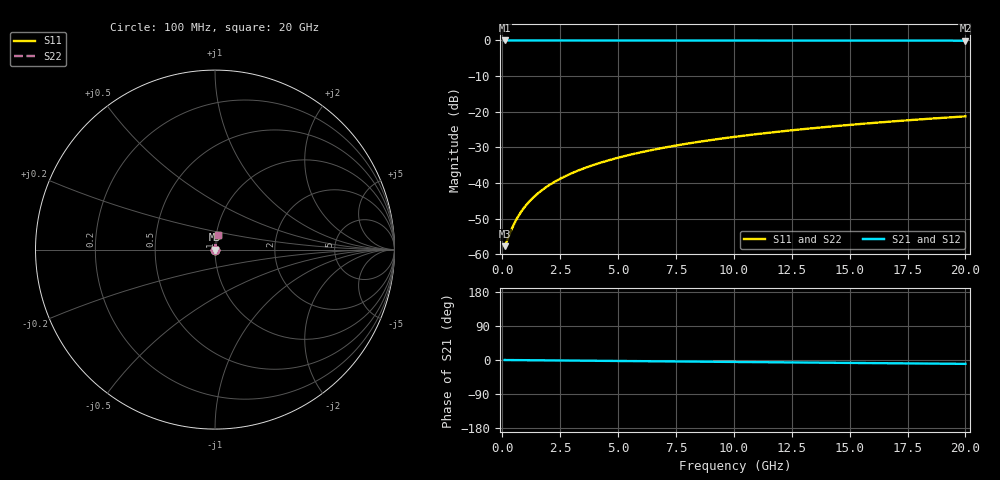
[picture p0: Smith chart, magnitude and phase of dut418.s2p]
! Touchstone file exported from HFSS 2026.1.0
!  File:  C:/ffzhzh/LocalFiles/Ansys_Project_Files/temp_train_TSV_418_1783020802_53980.aedt
!  Generated:  03:35:46 AM Jul  3, 2026
!  Design:  TSV
!  Project:  temp_train_TSV_418_1783020802_53980
! Variables:
!  h_bsmrdl = 2um
!  h_ox = 20um
!  h_rdl = 5um
!  h_sub = 93.42um
!  h_tmrdl = 5um
!  h_tsv = 93.42um
!  h_via = 3um
!  l_bsmrdl = 300um
!  l_sub = 405.98um
!  l_tmrdl = 200um
!  m_sub = 200um
!  pitch = 28.7um
!  r_tsv = 2.99um
!  s_tmrdl = 10um
!  w_bsmrdl = 18um
!  w_sub = 500um
!  w_tmrdl = 12um
!  x_tsv_center1 = 206um
!  x_tsv_center2 = 524um
!  x_tsv_center3 = 736um
!  x_tsv_center4 = 1054um
!  x_tsv_center5 = 1266um
!  x_tsv_center6 = 1584um
# GHz S MA R 50.000000
! Terminal data exported
! Port[1] = TSV1_1_T1
! Port[2] = TSV1_1_T2
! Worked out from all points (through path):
!   200 points, 100 MHz to 20 GHz, reference 50 ohm
!   highest |S21| = -0.01 dB at 100 MHz (marker M1); lowest = -0.1 dB at 20 GHz (marker M2)
!   group delay of S21, straight-line fit = 1.41 ps
!   lowest |S11| = -57.7 dB at 100 MHz (marker M3), VSWR 1.00, Z = 50.1 + j0.047 ohm
!   |S11| at or under -10 dB: start of sweep to end of sweep
!   |S22| runs from -57.7 to -21.3 dB; largest |S21 - S12| = 2.2e-15
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0.1  0.0013 21.1  0.9988 -0.1  0.9988 -0.1  0.0013 21.1
! Gamma 0 0 0 0
! Port Impedance 50 0 50 0
0.2  0.001538 37.4  0.9988 -0.1  0.9988 -0.1  0.001538 37.4
0.4  0.002233 56.0  0.9988 -0.2  0.9988 -0.2  0.002233 56.0
0.5  0.002629 61.3  0.9987 -0.3  0.9987 -0.3  0.002629 61.3
0.7  0.003462 68.2  0.9987 -0.4  0.9987 -0.4  0.003462 68.2
0.8  0.00389 70.5  0.9987 -0.4  0.9987 -0.4  0.00389 70.5
1  0.00476 73.8  0.9987 -0.5  0.9987 -0.5  0.00476 73.8
1.3  0.006086 76.9  0.9987 -0.7  0.9987 -0.7  0.006086 76.9
1.7  0.007873 79.3  0.9986 -0.9  0.9986 -0.9  0.007873 79.3
2.2  0.01012 80.9  0.9986 -1.2  0.9986 -1.2  0.01012 80.9
2.8  0.01281 82.0  0.9985 -1.5  0.9985 -1.5  0.01281 82.0
3.5  0.01595 82.6  0.9983 -1.8  0.9983 -1.8  0.01595 82.6
4.2  0.01907 82.8  0.9981 -2.2  0.9981 -2.2  0.01907 82.8
5  0.02262 82.8  0.9979 -2.6  0.9979 -2.6  0.02262 82.8
5.9  0.02658 82.7  0.9977 -3.1  0.9977 -3.1  0.02658 82.7
6.8  0.03051 82.5  0.9974 -3.5  0.9974 -3.5  0.03051 82.5
8.3  0.03701 82.0  0.9969 -4.3  0.9969 -4.3  0.03701 82.0
10.1  0.04472 81.3  0.9963 -5.2  0.9963 -5.2  0.04472 81.3
11.7  0.05151 80.7  0.9957 -6.0  0.9957 -6.0  0.05151 80.7
13.4  0.05868 80.0  0.9951 -6.9  0.9951 -6.9  0.05868 80.0
16.7  0.07247 78.6  0.9938 -8.5  0.9938 -8.5  0.07247 78.6
20  0.08612 77.2  0.9923 -10.2  0.9923 -10.2  0.08612 77.2
